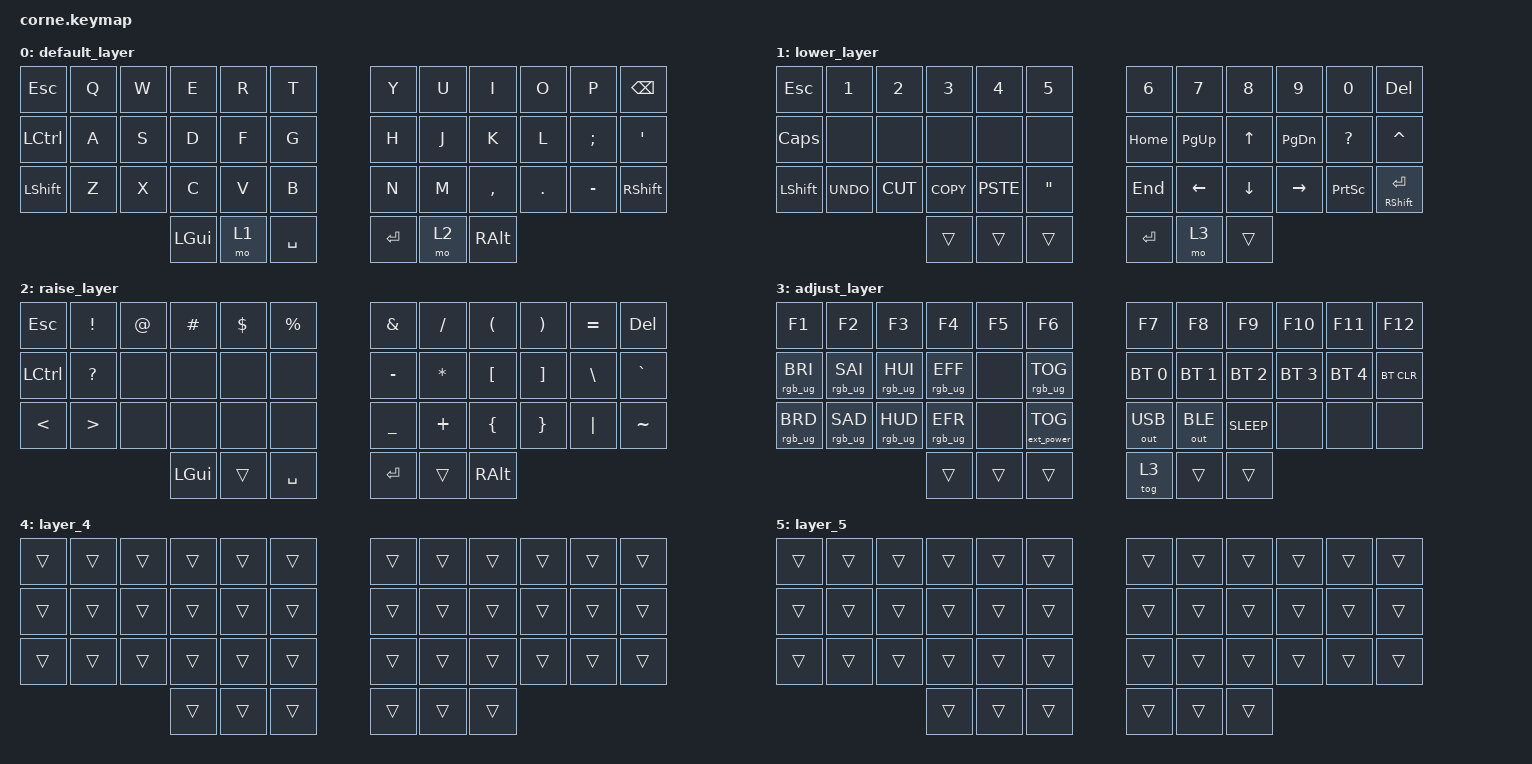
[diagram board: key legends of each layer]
/*
 * Copyright (c) 2020 The ZMK Contributors
 *
 * SPDX-License-Identifier: MIT
 */

#include <../boards/shields/corne/boards/nice_nano.overlay>
#include <behaviors.dtsi>
#include <dt-bindings/zmk/bt.h>
#include <dt-bindings/zmk/ext_power.h>
#include <dt-bindings/zmk/keys.h>
#include <dt-bindings/zmk/outputs.h>
#include <dt-bindings/zmk/rgb.h>

/ {
    keymap {
        compatible = "zmk,keymap";

        default_layer {
            // -------------------------------------------------------------------------------------
            // |  TAB |  Q  |  W  |  E  |  R  |  T  |       |  Y  |  U   |  I  |  O  |  P  |   BKSP    |
            // | CTRL |  A  |  S  |  D  |  F  |  G  |       |  H  |  J   |  K  |  L  |  ;  |    '      |
            // | SHFT |  Z  |  X  |  C  |  V  |  B  |       |  N  |  M   |  ,  |  .  |  -  | SHFT(RET) |
            //                    | WIN | LWR | SPA |       | RTN | RSE  | ALT |

            bindings = <
&kp ESC    &kp Q  &kp W  &kp E     &kp R  &kp T        &kp Y    &kp U  &kp I      &kp O    &kp P      &kp BSPC
&kp LCTRL  &kp A  &kp S  &kp D     &kp F  &kp G        &kp H    &kp J  &kp K      &kp L    &kp SEMI   &kp SQT
&kp LSHFT  &kp Z  &kp X  &kp C     &kp V  &kp B        &kp N    &kp M  &kp COMMA  &kp DOT  &kp MINUS  &kp RSHFT
                         &kp LGUI  &mo 1  &kp SPACE    &kp RET  &mo 2  &kp RALT
            >;
        };

        lower_layer {
            // ----------------------------------------------------------------------------------
            // |  ESC |  1   |  2  |  3   |  4     |  5  |          |  6  |  7  |  8  |  9  |  0   |    DEL   |
            // |  CAPS|      |     |      |        |     |          | HOME| PGUP|  UP |PGDN |  ?   |     ^    |
            // | SHFT | UNDO | CUT | COPY | PASTE| |     |          | END | LFT | DWN | RGT | PRSC | SHFT(RET)|
            //                              |     |     |          | RET | ADJ |    |

            bindings = <
&kp ESC    &kp N1    &kp N2   &kp N3    &kp N4    &kp N5     &kp N6    &kp N7     &kp N8    &kp N9     &kp N0     &kp DEL
&kp CLCK   &none     &none    &none     &none     &none      &kp HOME  &kp PG_UP  &kp UP    &kp PG_DN  &kp QMARK  &kp CARET
&kp LSHFT  &kp UNDO  &kp CUT  &kp COPY  &kp PSTE  &kp DQT    &kp END   &kp LEFT   &kp DOWN  &kp RIGHT  &kp PSCRN  &mt RSHFT RET
                              &trans    &trans    &trans     &kp RET   &mo 3      &trans
            >;
        };

        // -----------------------------------------------------------------------------------------
        // |  ESC |  !  |  @  |  #  |  $  |  %  |   |  &  |  /  |  (  |  )  |  =  | DEL |
        // | CTRL |   ? |     |     |     |     |   |  -  |  *  |  [  |  ]  |  \  |  `   |
        // | <    |   > |     |     |     |     |   |  _  |  +  |  {  |  }  | "|" |  ~   |
        //                    | GUI | LWR | SPC |   | ENT | RSE | ALT |

        raise_layer {
            bindings = <
&kp ESC    &kp EXCL   &kp AT  &kp HASH  &kp DLLR  &kp PRCNT    &kp AMPS   &kp SLASH  &kp LPAR  &kp RPAR  &kp EQUAL  &kp DEL
&kp LCTRL  &kp QMARK  &none   &none     &none     &none        &kp MINUS  &kp ASTRK  &kp LBKT  &kp RBKT  &kp BSLH   &kp GRAVE
&kp LT     &kp GT     &none   &none     &none     &none        &kp UNDER  &kp PLUS   &kp LBRC  &kp RBRC  &kp PIPE   &kp TILDE
                              &kp LGUI  &trans    &kp SPACE    &kp RET    &trans     &kp RALT
            >;
        };

        adjust_layer {
            // -----------------------------------------------------------------------------------------
            // |  F1      |  F2      |  F3      | F4       |    F5   |  F6     |   |    F7   |   F8  |    F9   |   F10 |   F11 | F12    |
            // | RGB BRI+ | RGB SAT+ | RGB HUE+ | RGB ANI+ |  BL_TOG | RGB TOG |   |    BT1  |   BT2 |   BT3   |   BT4 |   BT5 | BT CLR |
            // | RGB BRI- | RGB SAT- | RGB HUE- | RGB ANI- |         |  EP_TOG |   |    USB  |   BLE |K_SLEEP  |       |       |  RESET |
            //                                              |     |     |     |     |     |

            bindings = <
&kp F1           &kp F2           &kp F3           &kp F4           &kp F5  &kp F6               &kp F7        &kp F8        &kp F9        &kp F10       &kp F11       &kp F12
&rgb_ug RGB_BRI  &rgb_ug RGB_SAI  &rgb_ug RGB_HUI  &rgb_ug RGB_EFF  &none   &rgb_ug RGB_TOG      &bt BT_SEL 0  &bt BT_SEL 1  &bt BT_SEL 2  &bt BT_SEL 3  &bt BT_SEL 4  &bt BT_CLR
&rgb_ug RGB_BRD  &rgb_ug RGB_SAD  &rgb_ug RGB_HUD  &rgb_ug RGB_EFR  &none   &ext_power EP_TOG    &out OUT_USB  &out OUT_BLE  &kp K_SLEEP   &none         &none         &none
                                                   &trans           &trans  &trans               &tog 3        &trans        &trans
            >;
        };

        layer_4 {
            bindings = <
&trans  &trans  &trans  &trans  &trans  &trans    &trans  &trans  &trans  &trans  &trans  &trans
&trans  &trans  &trans  &trans  &trans  &trans    &trans  &trans  &trans  &trans  &trans  &trans
&trans  &trans  &trans  &trans  &trans  &trans    &trans  &trans  &trans  &trans  &trans  &trans
                        &trans  &trans  &trans    &trans  &trans  &trans
            >;
        };

        layer_5 {
            bindings = <
&trans  &trans  &trans  &trans  &trans  &trans    &trans  &trans  &trans  &trans  &trans  &trans
&trans  &trans  &trans  &trans  &trans  &trans    &trans  &trans  &trans  &trans  &trans  &trans
&trans  &trans  &trans  &trans  &trans  &trans    &trans  &trans  &trans  &trans  &trans  &trans
                        &trans  &trans  &trans    &trans  &trans  &trans
            >;
        };
    };
};
